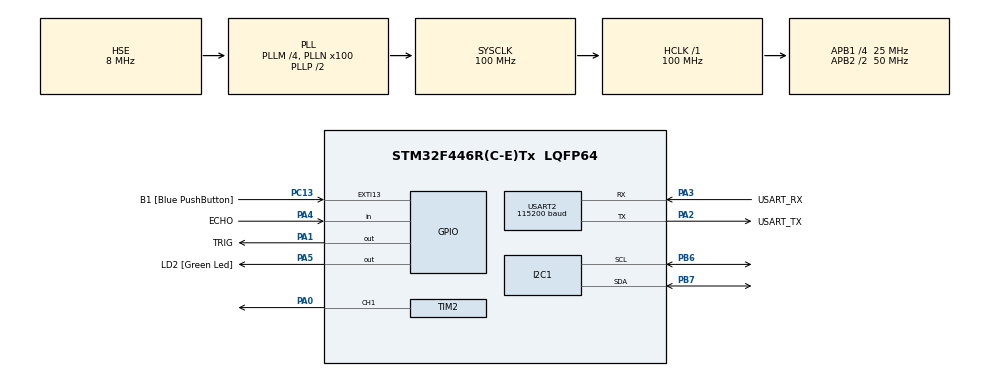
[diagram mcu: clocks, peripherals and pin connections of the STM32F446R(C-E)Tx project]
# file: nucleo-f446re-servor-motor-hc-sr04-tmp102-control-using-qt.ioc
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Mcu.Family=STM32F4
Mcu.Name=STM32F446R(C-E)Tx
Mcu.Package=LQFP64
NVIC.PriorityGroup=NVIC_PRIORITYGROUP_0
NVIC.TIM2_IRQn=true\:0\:0\:false\:false\:true\:true\:true
PA0-WKUP.Signal=S_TIM2_CH1_ETR
PA1.GPIO_Label=TRIG
PA1.Signal=GPIO_Output
PA13.GPIO_Label=TMS
PA13.Mode=Serial_Wire
PA13.Signal=SYS_JTMS-SWDIO
PA14.GPIO_Label=TCK
PA14.Mode=Serial_Wire
PA14.Signal=SYS_JTCK-SWCLK
PA2.GPIO_Label=USART_TX
PA2.Mode=Asynchronous
PA2.Signal=USART2_TX
PA3.GPIO_Label=USART_RX
PA3.Mode=Asynchronous
PA3.Signal=USART2_RX
PA4.GPIO_Label=ECHO
PA4.Signal=GPIO_Input
PA5.GPIO_Label=LD2 [Green Led]
PA5.Signal=GPIO_Output
PB3.GPIO_Label=SWO
PB3.Signal=SYS_JTDO-SWO
PB6.Mode=I2C
PB6.Signal=I2C1_SCL
PB7.Mode=I2C
PB7.Signal=I2C1_SDA
PC13.GPIO_Label=B1 [Blue PushButton]
PC13.GPIO_ModeDefaultEXTI=GPIO_MODE_IT_FALLING
PC13.Signal=GPXTI13
PC14-OSC32_IN.Signal=RCC_OSC32_IN
PC15-OSC32_OUT.Signal=RCC_OSC32_OUT
PH0-OSC_IN.Mode=HSE-External-Oscillator
PH0-OSC_IN.Signal=RCC_OSC_IN
PH1-OSC_OUT.Mode=HSE-External-Oscillator
PH1-OSC_OUT.Signal=RCC_OSC_OUT
ProjectManager.HeapSize=0x200
ProjectManager.StackSize=0x400
ProjectManager.TargetToolchain=STM32CubeIDE
RCC.48MHZClocksFreq_Value=84000000
RCC.AHBFreq_Value=100000000
RCC.APB1CLKDivider=RCC_HCLK_DIV4
RCC.APB1Freq_Value=25000000
RCC.APB1TimFreq_Value=50000000
RCC.APB2CLKDivider=RCC_HCLK_DIV2
RCC.APB2Freq_Value=50000000
RCC.APB2TimFreq_Value=100000000
RCC.CortexFreq_Value=100000000
RCC.FLatency-AdvancedSettings=FLASH_LATENCY_3
RCC.HCLKFreq_Value=100000000
RCC.HSE_VALUE=8000000
RCC.HSI_VALUE=16000000
RCC.PLLM=4
RCC.PLLN=100
RCC.PLLSourceVirtual=RCC_PLLSOURCE_HSE
RCC.SYSCLKFreq_VALUE=100000000
RCC.SYSCLKSource=RCC_SYSCLKSOURCE_PLLCLK
RCC.USBFreq_Value=100000000
RCC.VCOOutputFreq_Value=200000000
SH.S_TIM2_CH1_ETR.0=TIM2_CH1,PWM Generation1 CH1
TIM1.Period=100-1
TIM1.Prescaler=10-1
TIM2.Channel-PWM\ Generation1\ CH1=TIM_CHANNEL_1
TIM2.Period=1000-1
TIM2.Prescaler=1000-1
USART2.BaudRate=115200
USART2.Parity=PARITY_NONE
USART2.StopBits=STOPBITS_1
USART2.VirtualMode=VM_ASYNC
VP_TIM1_VS_ClockSourceINT.Mode=Internal
VP_TIM2_VS_ClockSourceINT.Mode=Internal
board=NUCLEO-F446RE

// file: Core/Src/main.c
/* USER CODE BEGIN Header */
/**
 ******************************************************************************
 * @file           : main.c
 * @brief          : Main program body
 ******************************************************************************
 * @attention
 *
 * <h2><center>&copy; Copyright (c) 2020 STMicroelectronics.
 * All rights reserved.</center></h2>
 *
 * This software component is licensed by ST under BSD 3-Clause license,
 * the "License"; You may not use this file except in compliance with the
 * License. You may obtain a copy of the License at:
 *                        opensource.org/licenses/BSD-3-Clause
 *
 ******************************************************************************
 */
/* USER CODE END Header */

#include "main.h"

/* USER CODE BEGIN Includes */
#include "i2c-lcd.h"
#include <stdio.h>
/* USER CODE END Includes */

I2C_HandleTypeDef hi2c1;

TIM_HandleTypeDef htim1;
TIM_HandleTypeDef htim2;

UART_HandleTypeDef huart2;

void SystemClock_Config(void);
static void MX_GPIO_Init(void);
static void MX_TIM2_Init(void);
static void MX_USART2_UART_Init(void);
static void MX_TIM1_Init(void);
static void MX_I2C1_Init(void);
/* USER CODE BEGIN PFP */
void delay(uint16_t delay);
/* USER CODE END PFP */

/* USER CODE BEGIN 0 */
uint32_t local_time, sensor_time;
uint8_t distance;

void delay_us(uint16_t us) {
	__HAL_TIM_SET_COUNTER(&htim1, 0);  // set the counter value a 0
	while (__HAL_TIM_GET_COUNTER(&htim1) < us)
		;  // wait for the counter to reach the us input in the parameter
}

uint32_t hcsr04_read(void) {
	local_time = 0;
	HAL_GPIO_WritePin(GPIOA, GPIO_PIN_1, GPIO_PIN_RESET); // pull the TRIG pin HIGH
	delay_us(12);  // wait for 2 us (12 ~ 2us)

	HAL_GPIO_WritePin(GPIOA, GPIO_PIN_1, GPIO_PIN_SET); // pull the TRIG pin HIGH
	delay_us(92);  // wait for 10 us (92 ~ 10us)
	HAL_GPIO_WritePin(GPIOA, GPIO_PIN_1, GPIO_PIN_RESET); // pull the TRIG pin low

	// read the time for which the pin is high

	while (!(HAL_GPIO_ReadPin(GPIOA, GPIO_PIN_4)))
		;  // wait for the ECHO pin to go high
	while (HAL_GPIO_ReadPin(GPIOA, GPIO_PIN_4))    // while the pin is high
	{
		local_time++;   // measure time for which the pin is high
		delay_us(2); // wait for 1us (2 ~ 1us)
	}
	return local_time;
}

/* USER CODE END 0 */

int main(void) {
	/* USER CODE BEGIN 1 */
	uint8_t rxData[1];
	char str_distance[4];
	const char *title_distance = "Distance: ";
	char *distance_display;
	HAL_StatusTypeDef sendDistanceStatus;

	/* USER CODE END 1 */

	/* MCU Configuration--------------------------------------------------------*/

	/* Reset of all peripherals, Initializes the Flash interface and the Systick. */
	HAL_Init();

	/* Configure the system clock */
	SystemClock_Config();

	/* Initialize all configured peripherals */
	MX_GPIO_Init();
	MX_TIM2_Init();
	MX_USART2_UART_Init();
	MX_TIM1_Init();
	MX_I2C1_Init();
	/* USER CODE BEGIN 2 */

	HAL_TIM_PWM_Start(&htim2, TIM_CHANNEL_1);
	HAL_TIM_Base_Start(&htim1);

	lcd_init();

	/* USER CODE END 2 */

	/* Infinite loop */
	while (1) {

		/* USER CODE BEGIN 3 */
		HAL_UART_Receive(&huart2, rxData, 1, 1000);

		if (rxData[0] == '1') { //RUN
			HAL_GPIO_WritePin(GPIOA, GPIO_PIN_5, SET);

			lcd_clear();
			lcd_put_cur(0, 0);
			lcd_send_string("LOADING...");

			int i = 40;

			HAL_Delay(1000);

			while (i < 100) {
				htim2.Instance->CCR1 = i;
				sensor_time = hcsr04_read();
				distance = sensor_time * .034 / 2;

				sprintf(str_distance, "%lu", distance);
				distance_display = malloc(
						strlen(str_distance) + strlen(title_distance));
				strcpy(distance_display, title_distance);
				strcat(distance_display, str_distance);

				lcd_clear();
				lcd_put_cur(1, 0);
				lcd_send_string(distance_display);

				i++;
				HAL_Delay(300);
			}

			HAL_Delay(1000);

		} else if (rxData[0] == '0') { //STOP
			HAL_GPIO_WritePin(GPIOA, GPIO_PIN_5, RESET);
			lcd_clear();
			lcd_put_cur(0, 0);
			lcd_send_string("STOP...");
		}

	}
	/* USER CODE END 3 */
}

void SystemClock_Config(void) {
	RCC_OscInitTypeDef RCC_OscInitStruct = { 0 };
	RCC_ClkInitTypeDef RCC_ClkInitStruct = { 0 };

	/** Configure the main internal regulator output voltage
	 */
	__HAL_RCC_PWR_CLK_ENABLE();
	__HAL_PWR_VOLTAGESCALING_CONFIG(PWR_REGULATOR_VOLTAGE_SCALE3);
	/** Initializes the CPU, AHB and APB busses clocks
	 */
	RCC_OscInitStruct.OscillatorType = RCC_OSCILLATORTYPE_HSE;
	RCC_OscInitStruct.HSEState = RCC_HSE_ON;
	RCC_OscInitStruct.PLL.PLLState = RCC_PLL_ON;
	RCC_OscInitStruct.PLL.PLLSource = RCC_PLLSOURCE_HSE;
	RCC_OscInitStruct.PLL.PLLM = 4;
	RCC_OscInitStruct.PLL.PLLN = 100;
	RCC_OscInitStruct.PLL.PLLP = RCC_PLLP_DIV2;
	RCC_OscInitStruct.PLL.PLLQ = 2;
	RCC_OscInitStruct.PLL.PLLR = 2;
	if (HAL_RCC_OscConfig(&RCC_OscInitStruct) != HAL_OK) {
		Error_Handler();
	}
	/** Initializes the CPU, AHB and APB busses clocks
	 */
	RCC_ClkInitStruct.ClockType = RCC_CLOCKTYPE_HCLK | RCC_CLOCKTYPE_SYSCLK
			| RCC_CLOCKTYPE_PCLK1 | RCC_CLOCKTYPE_PCLK2;
	RCC_ClkInitStruct.SYSCLKSource = RCC_SYSCLKSOURCE_PLLCLK;
	RCC_ClkInitStruct.AHBCLKDivider = RCC_SYSCLK_DIV1;
	RCC_ClkInitStruct.APB1CLKDivider = RCC_HCLK_DIV4;
	RCC_ClkInitStruct.APB2CLKDivider = RCC_HCLK_DIV2;

	if (HAL_RCC_ClockConfig(&RCC_ClkInitStruct, FLASH_LATENCY_3) != HAL_OK) {
		Error_Handler();
	}
}

static void MX_I2C1_Init(void) {

	hi2c1.Instance = I2C1;
	hi2c1.Init.ClockSpeed = 100000;
	hi2c1.Init.DutyCycle = I2C_DUTYCYCLE_2;
	hi2c1.Init.OwnAddress1 = 0;
	hi2c1.Init.AddressingMode = I2C_ADDRESSINGMODE_7BIT;
	hi2c1.Init.DualAddressMode = I2C_DUALADDRESS_DISABLE;
	hi2c1.Init.OwnAddress2 = 0;
	hi2c1.Init.GeneralCallMode = I2C_GENERALCALL_DISABLE;
	hi2c1.Init.NoStretchMode = I2C_NOSTRETCH_DISABLE;
	if (HAL_I2C_Init(&hi2c1) != HAL_OK) {
		Error_Handler();
	}

}

static void MX_TIM1_Init(void) {

	TIM_ClockConfigTypeDef sClockSourceConfig = { 0 };
	TIM_MasterConfigTypeDef sMasterConfig = { 0 };

	htim1.Instance = TIM1;
	htim1.Init.Prescaler = 10 - 1;
	htim1.Init.CounterMode = TIM_COUNTERMODE_UP;
	htim1.Init.Period = 100 - 1;
	htim1.Init.ClockDivision = TIM_CLOCKDIVISION_DIV1;
	htim1.Init.RepetitionCounter = 0;
	htim1.Init.AutoReloadPreload = TIM_AUTORELOAD_PRELOAD_DISABLE;
	if (HAL_TIM_Base_Init(&htim1) != HAL_OK) {
		Error_Handler();
	}
	sClockSourceConfig.ClockSource = TIM_CLOCKSOURCE_INTERNAL;
	if (HAL_TIM_ConfigClockSource(&htim1, &sClockSourceConfig) != HAL_OK) {
		Error_Handler();
	}
	sMasterConfig.MasterOutputTrigger = TIM_TRGO_RESET;
	sMasterConfig.MasterSlaveMode = TIM_MASTERSLAVEMODE_DISABLE;
	if (HAL_TIMEx_MasterConfigSynchronization(&htim1, &sMasterConfig)
			!= HAL_OK) {
		Error_Handler();
	}

}

static void MX_TIM2_Init(void) {

	TIM_ClockConfigTypeDef sClockSourceConfig = { 0 };
	TIM_MasterConfigTypeDef sMasterConfig = { 0 };
	TIM_OC_InitTypeDef sConfigOC = { 0 };

	htim2.Instance = TIM2;
	htim2.Init.Prescaler = 1000 - 1;
	htim2.Init.CounterMode = TIM_COUNTERMODE_UP;
	htim2.Init.Period = 1000 - 1;
	htim2.Init.ClockDivision = TIM_CLOCKDIVISION_DIV1;
	htim2.Init.AutoReloadPreload = TIM_AUTORELOAD_PRELOAD_DISABLE;
	if (HAL_TIM_Base_Init(&htim2) != HAL_OK) {
		Error_Handler();
	}
	sClockSourceConfig.ClockSource = TIM_CLOCKSOURCE_INTERNAL;
	if (HAL_TIM_ConfigClockSource(&htim2, &sClockSourceConfig) != HAL_OK) {
		Error_Handler();
	}
	if (HAL_TIM_PWM_Init(&htim2) != HAL_OK) {
		Error_Handler();
	}
	sMasterConfig.MasterOutputTrigger = TIM_TRGO_RESET;
	sMasterConfig.MasterSlaveMode = TIM_MASTERSLAVEMODE_DISABLE;
	if (HAL_TIMEx_MasterConfigSynchronization(&htim2, &sMasterConfig)
			!= HAL_OK) {
		Error_Handler();
	}
	sConfigOC.OCMode = TIM_OCMODE_PWM1;
	sConfigOC.Pulse = 0;
	sConfigOC.OCPolarity = TIM_OCPOLARITY_HIGH;
	sConfigOC.OCFastMode = TIM_OCFAST_DISABLE;
	if (HAL_TIM_PWM_ConfigChannel(&htim2, &sConfigOC, TIM_CHANNEL_1)
			!= HAL_OK) {
		Error_Handler();
	}
	HAL_TIM_MspPostInit(&htim2);

}

static void MX_USART2_UART_Init(void) {

	huart2.Instance = USART2;
	huart2.Init.BaudRate = 115200;
	huart2.Init.WordLength = UART_WORDLENGTH_8B;
	huart2.Init.StopBits = UART_STOPBITS_1;
	huart2.Init.Parity = UART_PARITY_NONE;
	huart2.Init.Mode = UART_MODE_TX_RX;
	huart2.Init.HwFlowCtl = UART_HWCONTROL_NONE;
	huart2.Init.OverSampling = UART_OVERSAMPLING_16;
	if (HAL_UART_Init(&huart2) != HAL_OK) {
		Error_Handler();
	}

}

static void MX_GPIO_Init(void) {
	GPIO_InitTypeDef GPIO_InitStruct = { 0 };

	/* GPIO Ports Clock Enable */
	__HAL_RCC_GPIOC_CLK_ENABLE();
	__HAL_RCC_GPIOH_CLK_ENABLE();
	__HAL_RCC_GPIOA_CLK_ENABLE();
	__HAL_RCC_GPIOB_CLK_ENABLE();

	/*Configure GPIO pin Output Level */
	HAL_GPIO_WritePin(GPIOA, TRIG_Pin | LD2_Pin, GPIO_PIN_RESET);

	/*Configure GPIO pin : B1_Pin */
	GPIO_InitStruct.Pin = B1_Pin;
	GPIO_InitStruct.Mode = GPIO_MODE_IT_FALLING;
	GPIO_InitStruct.Pull = GPIO_NOPULL;
	HAL_GPIO_Init(B1_GPIO_Port, &GPIO_InitStruct);

	/*Configure GPIO pins : TRIG_Pin LD2_Pin */
	GPIO_InitStruct.Pin = TRIG_Pin | LD2_Pin;
	GPIO_InitStruct.Mode = GPIO_MODE_OUTPUT_PP;
	GPIO_InitStruct.Pull = GPIO_NOPULL;
	GPIO_InitStruct.Speed = GPIO_SPEED_FREQ_LOW;
	HAL_GPIO_Init(GPIOA, &GPIO_InitStruct);

	/*Configure GPIO pin : ECHO_Pin */
	GPIO_InitStruct.Pin = ECHO_Pin;
	GPIO_InitStruct.Mode = GPIO_MODE_INPUT;
	GPIO_InitStruct.Pull = GPIO_NOPULL;
	HAL_GPIO_Init(ECHO_GPIO_Port, &GPIO_InitStruct);

}

void Error_Handler(void) {
}

/************************ (C) COPYRIGHT STMicroelectronics *****END OF FILE****/
